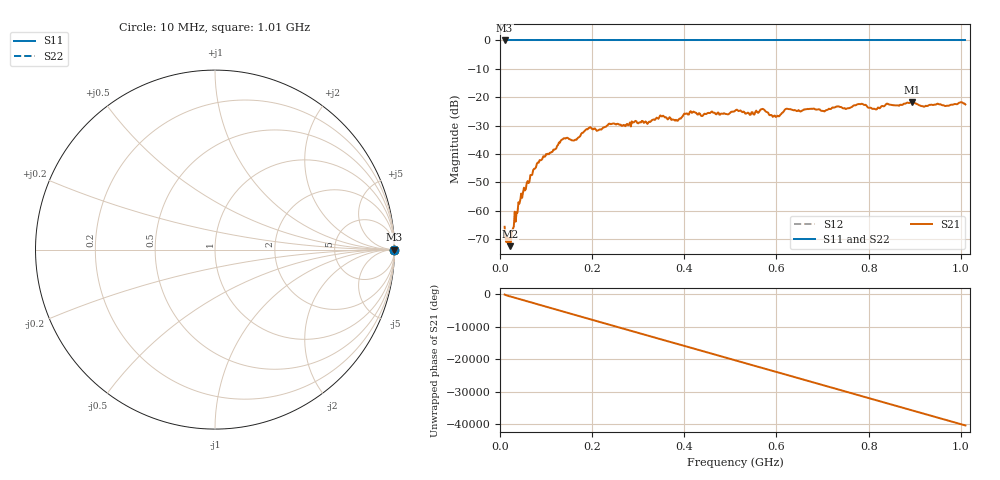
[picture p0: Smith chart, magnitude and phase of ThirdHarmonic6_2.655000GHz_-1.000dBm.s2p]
! 8/17/2025 6:05:10 AM
! C:\ANRITSUVNA\TEMP\TEMP.S2P
! CHANNEL.1
! TR.MEASUREMENT
! RAW.DATA
! RF.CORRECTION.OFF
! AVERAGING.OFF
! IF.BANDWIDTH: 5KHZ
! SWEEPTYPE:  FREQ.SWEEP(Linear)
! Reference Plane Port Info
! PORT:  PORT1  PORT2
! DISTANCE:  0  m  0  m
! TIME:  0  s  0  s
! PHASE.OFFSET:  0  deg.  0  deg.
! LOSS:  0  dB  0  dB
! REF.LOSS:  0  dB  0  dB
! REF.FREQ:  0  Hz  0  Hz
! Power Info
! POWER:  -20  dBm  -20  dBm
! EFF.POWER:  -20  dBm  -20  dBm
! SOURCE.ATTEN:  0  dB  0  dB
! TEST.ATTEN:  0  dB  0  dB
# GHZ S RI R 50.0
! FREQ.GHZ  S11RE  S11IM  S21RE  S21IM  S12RE  S12IM  S22RE  S22IM
!; PortSelection: Port_12
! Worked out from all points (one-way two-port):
!   501 points, 10 MHz to 1.01 GHz, reference 50 ohm
!   highest |S21| = -21.75 dB at 894 MHz (marker M1); lowest = -72.4 dB at 22 MHz (marker M2)
!   lowest |S11| = 0.0 dB at 10 MHz (marker M3)
!   |S11| at or under -10 dB: nowhere
!   |S22| runs from 0.0 to 0.0 dB; largest |S21 - S12| = 1.1
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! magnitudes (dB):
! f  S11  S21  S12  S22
! 10 MHz  0.0  -65.6  0.0  0.0
! 18 MHz  0.0  -71.6  0.0  0.0
! 22 MHz  0.0  -72.4  0.0  0.0
! 48 MHz  0.0  -55.4  0.0  0.0
! 84 MHz  0.0  -43.0  0.0  0.0
! 136 MHz  0.0  -34.8  0.0  0.0
! 162 MHz  0.0  -35.1  0.0  0.0
! 178 MHz  0.0  -32.6  0.0  0.0
! 192 MHz  0.0  -30.9  0.0  0.0
! 344 MHz  0.0  -27.6  0.0  0.0
! 382 MHz  0.0  -27.9  0.0  0.0
! 416 MHz  0.0  -25.5  0.0  0.0
! 510 MHz  0.0  -24.8  0.0  0.0
! 570 MHz  0.0  -24.1  0.0  0.0
! 602 MHz  0.0  -26.5  0.0  0.0
! 622 MHz  0.0  -24.0  0.0  0.0
! 678 MHz  0.0  -24.1  0.0  0.0
! 782 MHz  0.0  -22.4  0.0  0.0
! 814 MHz  0.0  -24.2  0.0  0.0
! 844 MHz  0.0  -22.5  0.0  0.0
! 894 MHz  0.0  -21.7  0.0  0.0
! 1.01 GHz  0.0  -22.5  0.0  0.0
